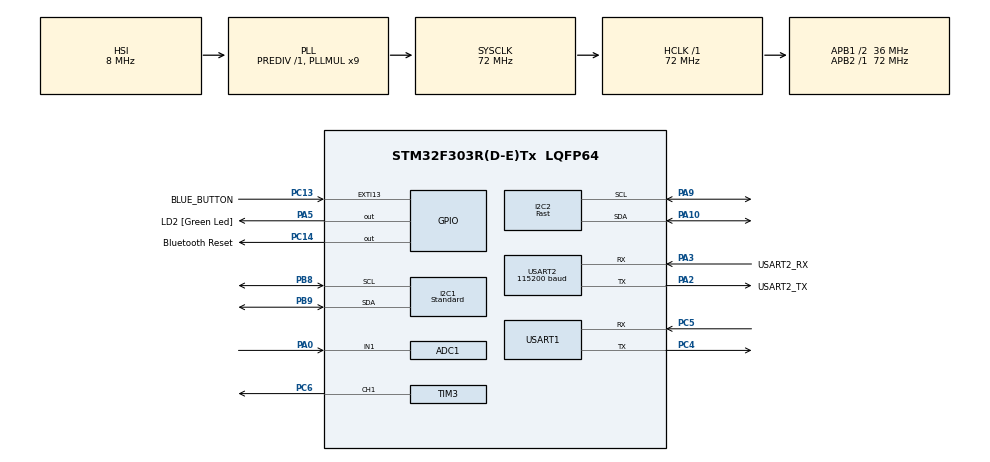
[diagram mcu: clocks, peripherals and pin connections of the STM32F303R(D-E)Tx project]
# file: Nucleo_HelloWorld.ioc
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ADC1.Channel-0\#ChannelRegularConversion=ADC_CHANNEL_1
ADC1.ContinuousConvMode=ENABLE
ADC1.NbrOfConversionFlag=1
ADC1.Offset-0\#ChannelRegularConversion=0
ADC1.OffsetNumber-0\#ChannelRegularConversion=ADC_OFFSET_NONE
ADC1.Rank-0\#ChannelRegularConversion=1
ADC1.SamplingTime-0\#ChannelRegularConversion=ADC_SAMPLETIME_1CYCLE_5
ADC1.SamplingTimeOPAMP-0\#ChannelRegularConversion=ADC_SAMPLETIME_61CYCLES_5
ADC1.master=1
I2C1.I2C_Fall_Time=0
I2C1.I2C_Rise_Time=0
I2C1.I2C_Speed_Mode=I2C_Standard
I2C1.Timing=0x2000090E
I2C2.I2C_Speed_Mode=I2C_Fast
I2C2.Timing=0x0010020A
Mcu.Family=STM32F3
Mcu.Name=STM32F303R(D-E)Tx
Mcu.Package=LQFP64
NVIC.EXTI15_10_IRQn=true\:0\:0\:false\:false\:false\:true\:true\:true
NVIC.PriorityGroup=NVIC_PRIORITYGROUP_0
NVIC.TIM3_IRQn=true\:0\:0\:false\:false\:true\:true\:true\:true
NVIC.USART1_IRQn=true\:0\:0\:false\:false\:false\:true\:true\:true
NVIC.USART2_IRQn=true\:0\:0\:false\:false\:false\:true\:true\:true
PA0.Mode=IN1-Single-Ended
PA0.Signal=ADC1_IN1
PA10.Mode=I2C
PA10.Signal=I2C2_SDA
PA2.GPIO_Label=USART2_TX
PA2.GPIO_Mode=GPIO_MODE_AF_PP
PA2.GPIO_PuPd=GPIO_NOPULL
PA2.GPIO_Speed=GPIO_SPEED_FREQ_LOW
PA2.Mode=Asynchronous
PA2.Signal=USART2_TX
PA3.GPIO_Label=USART2_RX
PA3.GPIO_Mode=GPIO_MODE_AF_PP
PA3.GPIO_PuPd=GPIO_NOPULL
PA3.GPIO_Speed=GPIO_SPEED_FREQ_LOW
PA3.Mode=Asynchronous
PA3.Signal=USART2_RX
PA5.GPIO_Label=LD2 [Green Led]
PA5.GPIO_Mode=GPIO_MODE_OUTPUT_PP
PA5.GPIO_PuPd=GPIO_NOPULL
PA5.GPIO_Speed=GPIO_SPEED_FREQ_LOW
PA5.Signal=GPIO_Output
PA9.Mode=I2C
PA9.Signal=I2C2_SCL
PB8.GPIO_Pu=GPIO_PULLUP
PB8.Mode=I2C
PB8.Signal=I2C1_SCL
PB9.GPIO_Pu=GPIO_PULLUP
PB9.Mode=I2C
PB9.Signal=I2C1_SDA
PC13.GPIO_Label=BLUE_BUTTON
PC13.GPIO_ModeDefaultEXTI=GPIO_MODE_IT_FALLING
PC13.Signal=GPXTI13
PC14-OSC32_IN.GPIO_Label=Bluetooth Reset
PC14-OSC32_IN.Signal=GPIO_Output
PC4.Mode=Asynchronous
PC4.Signal=USART1_TX
PC5.Mode=Asynchronous
PC5.Signal=USART1_RX
PC6.Signal=S_TIM3_CH1
PF1-OSC_OUT.Signal=RCC_OSC_OUT
ProjectManager.HeapSize=0x200
ProjectManager.StackSize=0x400
ProjectManager.TargetToolchain=STM32CubeIDE
RCC.AHBFreq_Value=72000000
RCC.APB1CLKDivider=RCC_HCLK_DIV2
RCC.APB1Freq_Value=36000000
RCC.APB1TimFreq_Value=72000000
RCC.APB2Freq_Value=72000000
RCC.APB2TimFreq_Value=72000000
RCC.CortexFreq_Value=72000000
RCC.HCLKFreq_Value=72000000
RCC.HSE_VALUE=8000000
RCC.HSI_VALUE=8000000
RCC.LSE_VALUE=32768
RCC.PLLM=8
RCC.PLLMUL=RCC_PLL_MUL9
RCC.PLLN=336
RCC.PLLP=RCC_PLLP_DIV4
RCC.PLLQ=7
RCC.RCC_PLLsource_Clock_Source_FROM_HSE=RCC_HSE_PREDIV_DIV2
RCC.SYSCLKFreq_VALUE=72000000
RCC.SYSCLKSourceVirtual=RCC_SYSCLKSOURCE_PLLCLK
RCC.USBFreq_Value=72000000
SH.S_TIM3_CH1.0=TIM3_CH1,Output Compare1 CH1
TIM3.Channel-Output\ Compare1\ CH1=TIM_CHANNEL_1
TIM3.Period=64000
TIM3.Prescaler=2000
USART1.VirtualMode-Asynchronous=VM_ASYNC
USART2.BaudRate=115200
USART2.VirtualMode-Asynchronous=VM_ASYNC
VP_TIM3_VS_ClockSourceINT.Mode=Internal
board=NUCLEO-F303RE

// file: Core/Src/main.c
/* USER CODE BEGIN Header */
/**
  ******************************************************************************
  * @file           : main.c
  * @brief          : Main program body
  ******************************************************************************
  * @attention
  *
  * Copyright (c) 2024 STMicroelectronics.
  * All rights reserved.
  *
  * This software is licensed under terms that can be found in the LICENSE file
  * in the root directory of this software component.
  * If no LICENSE file comes with this software, it is provided AS-IS.
  *
  ******************************************************************************
  */
/* USER CODE END Header */
#include "main.h"

/* USER CODE BEGIN Includes */

#include "periph_i2c.h"
#include "periph_uart.h"
#include "mpu6050.h"
#include "ssd1306_tests.h"
#include "ssd1306.h"
#include "ssd1306_fonts.h"
#include "ccs811.h"
#include "bme280.h"
#include "HC05.h"

#include <stdio.h>
#include <stdbool.h>
#include <string.h>
/* USER CODE END Includes */

/* USER CODE BEGIN PD */
#define BUFFER_LEN 100u

/* USER CODE END PD */

ADC_HandleTypeDef hadc1;

I2C_HandleTypeDef hi2c1;
I2C_HandleTypeDef hi2c2;

TIM_HandleTypeDef htim3;

UART_HandleTypeDef huart1;
UART_HandleTypeDef huart2;

/* USER CODE BEGIN PV */
// string constants
const char *hw = "Hello World \r\n";
const char *btn_message = "Button pressed! \r\n";
const char *error = "Error!\r\n";

// variable value holders for function calls
HAL_StatusTypeDef uart_tx_result = HAL_BUSY;
HAL_StatusTypeDef adc_ok = HAL_BUSY;
uint32_t adc_value = 0u;

// voltage reading values for ADC
float voltage = 0.0f;
const uint16_t adc_max_range = 4095;
const float ref_voltage = 3.3f;
const float volt_per_bit = ref_voltage / (float)adc_max_range;

char buffer[100] = "";
//uint8_t hc05_rx_data;
static bool it_flag = false;
static bool timer_flag = false;

/* USER CODE END PV */

void SystemClock_Config(void);
static void MX_GPIO_Init(void);
static void MX_USART2_UART_Init(void);
static void MX_ADC1_Init(void);
static void MX_I2C1_Init(void);
static void MX_TIM3_Init(void);
static void MX_I2C2_Init(void);
static void MX_USART1_UART_Init(void);
/* USER CODE BEGIN PFP */
void pollADC(void);
void check_button_press(void);
void print_mpu6050_axis_data(void);
void print_temperature_data(void);
void print_air_quality_data(void);
bool periph_i2c_init(void);

/* USER CODE END PFP */

int main(void)
{

  /* MCU Configuration--------------------------------------------------------*/

  /* Reset of all peripherals, Initializes the Flash interface and the Systick. */
  HAL_Init();

  /* Configure the system clock */
  SystemClock_Config();

  /* Initialize all configured peripherals */
  MX_GPIO_Init();
  MX_USART2_UART_Init();
  MX_ADC1_Init();
  MX_I2C1_Init();
  MX_TIM3_Init();
  MX_I2C2_Init();
  MX_USART1_UART_Init();
  /* USER CODE BEGIN 2 */

  // ADC has to call start first
  (void)HAL_ADC_Start(&hadc1);  // We must start the ADC if we want to use it

  // start the timer interrupt.
  HAL_TIM_Base_Start_IT(&htim3);

  // stop the debugger if we can't init either uart or i2c
  if (periph_uart_init(&huart2) == false)
  {
	  assert(false);
  }

  // init the HC05 Bluetooth module over UART
  if (hc05_init(&huart1) == false)
  {
	  assert(false);
  }
  else
  {
//	  char hc05_init_msg[] = "HCO5 initialized!\r\n";
//	  uint16_t buffer_len = strlen(hc05_init_msg);
//	  periph_uart_send_tx(hc05_init_msg, buffer_len);
  }

//  // temporary setup for HC05 for basic testsing over UART
//  (void)HAL_UART_Receive_IT(&huart1, &hc05_rx_data, 1);

  // init the i2c devices.
  if (periph_i2c_init() == false)
  {
	  assert(false);
  }
  else
  {
	  // i2c init succeeded, draw the Github logo on the OLED as the intro
	  draw_github_intro();
	  HAL_Delay(1000);
  }

  HAL_Delay(10); // delay needed to get UART working properly

  if (mpu6050_init() == false)
  {
	  assert(false);
  }
  else
  {
	  // send over the serial port that mpu6050 was found
	  char mpu6050_msg[] = "mpu6050 Found!\r\n";
	  uint16_t buffer_len = strlen(mpu6050_msg);
	  periph_uart_send_tx(mpu6050_msg, buffer_len);
  }

  /* USER CODE END 2 */

  /* Infinite loop */
  while (1)
  {

    /* USER CODE BEGIN 3 */
	  // Nothing happens in the while loop, interrupts are used
	  // for UART and Timer3.
  }
  /* USER CODE END 3 */
}

void SystemClock_Config(void)
{
  RCC_OscInitTypeDef RCC_OscInitStruct = {0};
  RCC_ClkInitTypeDef RCC_ClkInitStruct = {0};
  RCC_PeriphCLKInitTypeDef PeriphClkInit = {0};

  /** Initializes the RCC Oscillators according to the specified parameters
  * in the RCC_OscInitTypeDef structure.
  */
  RCC_OscInitStruct.OscillatorType = RCC_OSCILLATORTYPE_HSI;
  RCC_OscInitStruct.HSIState = RCC_HSI_ON;
  RCC_OscInitStruct.HSICalibrationValue = RCC_HSICALIBRATION_DEFAULT;
  RCC_OscInitStruct.PLL.PLLState = RCC_PLL_ON;
  RCC_OscInitStruct.PLL.PLLSource = RCC_PLLSOURCE_HSI;
  RCC_OscInitStruct.PLL.PLLMUL = RCC_PLL_MUL9;
  RCC_OscInitStruct.PLL.PREDIV = RCC_PREDIV_DIV1;
  if (HAL_RCC_OscConfig(&RCC_OscInitStruct) != HAL_OK)
  {
    Error_Handler();
  }

  /** Initializes the CPU, AHB and APB buses clocks
  */
  RCC_ClkInitStruct.ClockType = RCC_CLOCKTYPE_HCLK|RCC_CLOCKTYPE_SYSCLK
                              |RCC_CLOCKTYPE_PCLK1|RCC_CLOCKTYPE_PCLK2;
  RCC_ClkInitStruct.SYSCLKSource = RCC_SYSCLKSOURCE_PLLCLK;
  RCC_ClkInitStruct.AHBCLKDivider = RCC_SYSCLK_DIV1;
  RCC_ClkInitStruct.APB1CLKDivider = RCC_HCLK_DIV2;
  RCC_ClkInitStruct.APB2CLKDivider = RCC_HCLK_DIV1;

  if (HAL_RCC_ClockConfig(&RCC_ClkInitStruct, FLASH_LATENCY_2) != HAL_OK)
  {
    Error_Handler();
  }
  PeriphClkInit.PeriphClockSelection = RCC_PERIPHCLK_USART1|RCC_PERIPHCLK_USART2
                              |RCC_PERIPHCLK_I2C1|RCC_PERIPHCLK_I2C2
                              |RCC_PERIPHCLK_ADC12|RCC_PERIPHCLK_TIM34;
  PeriphClkInit.Usart1ClockSelection = RCC_USART1CLKSOURCE_PCLK2;
  PeriphClkInit.Usart2ClockSelection = RCC_USART2CLKSOURCE_PCLK1;
  PeriphClkInit.Adc12ClockSelection = RCC_ADC12PLLCLK_DIV1;
  PeriphClkInit.I2c1ClockSelection = RCC_I2C1CLKSOURCE_HSI;
  PeriphClkInit.I2c2ClockSelection = RCC_I2C2CLKSOURCE_HSI;
  PeriphClkInit.Tim34ClockSelection = RCC_TIM34CLK_HCLK;
  if (HAL_RCCEx_PeriphCLKConfig(&PeriphClkInit) != HAL_OK)
  {
    Error_Handler();
  }
}

static void MX_ADC1_Init(void)
{

  ADC_MultiModeTypeDef multimode = {0};
  ADC_ChannelConfTypeDef sConfig = {0};

  /** Common config
  */
  hadc1.Instance = ADC1;
  hadc1.Init.ClockPrescaler = ADC_CLOCK_ASYNC_DIV1;
  hadc1.Init.Resolution = ADC_RESOLUTION_12B;
  hadc1.Init.ScanConvMode = ADC_SCAN_DISABLE;
  hadc1.Init.ContinuousConvMode = ENABLE;
  hadc1.Init.DiscontinuousConvMode = DISABLE;
  hadc1.Init.ExternalTrigConvEdge = ADC_EXTERNALTRIGCONVEDGE_NONE;
  hadc1.Init.ExternalTrigConv = ADC_SOFTWARE_START;
  hadc1.Init.DataAlign = ADC_DATAALIGN_RIGHT;
  hadc1.Init.NbrOfConversion = 1;
  hadc1.Init.DMAContinuousRequests = DISABLE;
  hadc1.Init.EOCSelection = ADC_EOC_SINGLE_CONV;
  hadc1.Init.LowPowerAutoWait = DISABLE;
  hadc1.Init.Overrun = ADC_OVR_DATA_OVERWRITTEN;
  if (HAL_ADC_Init(&hadc1) != HAL_OK)
  {
    Error_Handler();
  }

  /** Configure the ADC multi-mode
  */
  multimode.Mode = ADC_MODE_INDEPENDENT;
  if (HAL_ADCEx_MultiModeConfigChannel(&hadc1, &multimode) != HAL_OK)
  {
    Error_Handler();
  }

  /** Configure Regular Channel
  */
  sConfig.Channel = ADC_CHANNEL_1;
  sConfig.Rank = ADC_REGULAR_RANK_1;
  sConfig.SingleDiff = ADC_SINGLE_ENDED;
  sConfig.SamplingTime = ADC_SAMPLETIME_1CYCLE_5;
  sConfig.OffsetNumber = ADC_OFFSET_NONE;
  sConfig.Offset = 0;
  if (HAL_ADC_ConfigChannel(&hadc1, &sConfig) != HAL_OK)
  {
    Error_Handler();
  }

}

static void MX_I2C1_Init(void)
{

  hi2c1.Instance = I2C1;
  hi2c1.Init.Timing = 0x2000090E;
  hi2c1.Init.OwnAddress1 = 0;
  hi2c1.Init.AddressingMode = I2C_ADDRESSINGMODE_7BIT;
  hi2c1.Init.DualAddressMode = I2C_DUALADDRESS_DISABLE;
  hi2c1.Init.OwnAddress2 = 0;
  hi2c1.Init.OwnAddress2Masks = I2C_OA2_NOMASK;
  hi2c1.Init.GeneralCallMode = I2C_GENERALCALL_DISABLE;
  hi2c1.Init.NoStretchMode = I2C_NOSTRETCH_DISABLE;
  if (HAL_I2C_Init(&hi2c1) != HAL_OK)
  {
    Error_Handler();
  }

  /** Configure Analogue filter
  */
  if (HAL_I2CEx_ConfigAnalogFilter(&hi2c1, I2C_ANALOGFILTER_ENABLE) != HAL_OK)
  {
    Error_Handler();
  }

  /** Configure Digital filter
  */
  if (HAL_I2CEx_ConfigDigitalFilter(&hi2c1, 0) != HAL_OK)
  {
    Error_Handler();
  }

}

static void MX_I2C2_Init(void)
{

  hi2c2.Instance = I2C2;
  hi2c2.Init.Timing = 0x0010020A;
  hi2c2.Init.OwnAddress1 = 0;
  hi2c2.Init.AddressingMode = I2C_ADDRESSINGMODE_7BIT;
  hi2c2.Init.DualAddressMode = I2C_DUALADDRESS_DISABLE;
  hi2c2.Init.OwnAddress2 = 0;
  hi2c2.Init.OwnAddress2Masks = I2C_OA2_NOMASK;
  hi2c2.Init.GeneralCallMode = I2C_GENERALCALL_DISABLE;
  hi2c2.Init.NoStretchMode = I2C_NOSTRETCH_DISABLE;
  if (HAL_I2C_Init(&hi2c2) != HAL_OK)
  {
    Error_Handler();
  }

  /** Configure Analogue filter
  */
  if (HAL_I2CEx_ConfigAnalogFilter(&hi2c2, I2C_ANALOGFILTER_ENABLE) != HAL_OK)
  {
    Error_Handler();
  }

  /** Configure Digital filter
  */
  if (HAL_I2CEx_ConfigDigitalFilter(&hi2c2, 0) != HAL_OK)
  {
    Error_Handler();
  }

}

static void MX_TIM3_Init(void)
{

  TIM_ClockConfigTypeDef sClockSourceConfig = {0};
  TIM_MasterConfigTypeDef sMasterConfig = {0};
  TIM_OC_InitTypeDef sConfigOC = {0};

  htim3.Instance = TIM3;
  htim3.Init.Prescaler = 2000;
  htim3.Init.CounterMode = TIM_COUNTERMODE_UP;
  htim3.Init.Period = 64000;
  htim3.Init.ClockDivision = TIM_CLOCKDIVISION_DIV1;
  htim3.Init.AutoReloadPreload = TIM_AUTORELOAD_PRELOAD_DISABLE;
  if (HAL_TIM_Base_Init(&htim3) != HAL_OK)
  {
    Error_Handler();
  }
  sClockSourceConfig.ClockSource = TIM_CLOCKSOURCE_INTERNAL;
  if (HAL_TIM_ConfigClockSource(&htim3, &sClockSourceConfig) != HAL_OK)
  {
    Error_Handler();
  }
  if (HAL_TIM_OC_Init(&htim3) != HAL_OK)
  {
    Error_Handler();
  }
  sMasterConfig.MasterOutputTrigger = TIM_TRGO_RESET;
  sMasterConfig.MasterSlaveMode = TIM_MASTERSLAVEMODE_DISABLE;
  if (HAL_TIMEx_MasterConfigSynchronization(&htim3, &sMasterConfig) != HAL_OK)
  {
    Error_Handler();
  }
  sConfigOC.OCMode = TIM_OCMODE_TIMING;
  sConfigOC.Pulse = 0;
  sConfigOC.OCPolarity = TIM_OCPOLARITY_HIGH;
  sConfigOC.OCFastMode = TIM_OCFAST_DISABLE;
  if (HAL_TIM_OC_ConfigChannel(&htim3, &sConfigOC, TIM_CHANNEL_1) != HAL_OK)
  {
    Error_Handler();
  }
  HAL_TIM_MspPostInit(&htim3);

}

static void MX_USART1_UART_Init(void)
{

  huart1.Instance = USART1;
  huart1.Init.BaudRate = 38400;
  huart1.Init.WordLength = UART_WORDLENGTH_8B;
  huart1.Init.StopBits = UART_STOPBITS_1;
  huart1.Init.Parity = UART_PARITY_NONE;
  huart1.Init.Mode = UART_MODE_TX_RX;
  huart1.Init.HwFlowCtl = UART_HWCONTROL_NONE;
  huart1.Init.OverSampling = UART_OVERSAMPLING_16;
  huart1.Init.OneBitSampling = UART_ONE_BIT_SAMPLE_DISABLE;
  huart1.AdvancedInit.AdvFeatureInit = UART_ADVFEATURE_NO_INIT;
  if (HAL_UART_Init(&huart1) != HAL_OK)
  {
    Error_Handler();
  }

}

static void MX_USART2_UART_Init(void)
{

  huart2.Instance = USART2;
  huart2.Init.BaudRate = 115200;
  huart2.Init.WordLength = UART_WORDLENGTH_8B;
  huart2.Init.StopBits = UART_STOPBITS_1;
  huart2.Init.Parity = UART_PARITY_NONE;
  huart2.Init.Mode = UART_MODE_TX_RX;
  huart2.Init.HwFlowCtl = UART_HWCONTROL_NONE;
  huart2.Init.OverSampling = UART_OVERSAMPLING_16;
  huart2.Init.OneBitSampling = UART_ONE_BIT_SAMPLE_DISABLE;
  huart2.AdvancedInit.AdvFeatureInit = UART_ADVFEATURE_NO_INIT;
  if (HAL_UART_Init(&huart2) != HAL_OK)
  {
    Error_Handler();
  }

}

static void MX_GPIO_Init(void)
{
  GPIO_InitTypeDef GPIO_InitStruct = {0};

  /* GPIO Ports Clock Enable */
  __HAL_RCC_GPIOC_CLK_ENABLE();
  __HAL_RCC_GPIOF_CLK_ENABLE();
  __HAL_RCC_GPIOA_CLK_ENABLE();
  __HAL_RCC_GPIOB_CLK_ENABLE();

  /*Configure GPIO pin Output Level */
  HAL_GPIO_WritePin(Bluetooth_Reset_GPIO_Port, Bluetooth_Reset_Pin, GPIO_PIN_RESET);

  /*Configure GPIO pin Output Level */
  HAL_GPIO_WritePin(LD2_GPIO_Port, LD2_Pin, GPIO_PIN_RESET);

  /*Configure GPIO pin : BLUE_BUTTON_Pin */
  GPIO_InitStruct.Pin = BLUE_BUTTON_Pin;
  GPIO_InitStruct.Mode = GPIO_MODE_IT_FALLING;
  GPIO_InitStruct.Pull = GPIO_NOPULL;
  HAL_GPIO_Init(BLUE_BUTTON_GPIO_Port, &GPIO_InitStruct);

  /*Configure GPIO pin : Bluetooth_Reset_Pin */
  GPIO_InitStruct.Pin = Bluetooth_Reset_Pin;
  GPIO_InitStruct.Mode = GPIO_MODE_OUTPUT_PP;
  GPIO_InitStruct.Pull = GPIO_NOPULL;
  GPIO_InitStruct.Speed = GPIO_SPEED_FREQ_LOW;
  HAL_GPIO_Init(Bluetooth_Reset_GPIO_Port, &GPIO_InitStruct);

  /*Configure GPIO pin : LD2_Pin */
  GPIO_InitStruct.Pin = LD2_Pin;
  GPIO_InitStruct.Mode = GPIO_MODE_OUTPUT_PP;
  GPIO_InitStruct.Pull = GPIO_NOPULL;
  GPIO_InitStruct.Speed = GPIO_SPEED_FREQ_LOW;
  HAL_GPIO_Init(LD2_GPIO_Port, &GPIO_InitStruct);

  /* EXTI interrupt init*/
  HAL_NVIC_SetPriority(EXTI15_10_IRQn, 0, 0);
  HAL_NVIC_EnableIRQ(EXTI15_10_IRQn);

}

/* USER CODE BEGIN 4 */

bool periph_i2c_init()
{

	// init the OLED display driver.
	ssd1306_Init();

	// TODO: Will enable when Bluetooth is setup and broadcasting
	// init the air quality sensor
//	if (ccs811_init() == false)
//	{
//		return false;
//	}
	// init the temp+humidity sensor
//	if (bme280_init() == false)
//	{
//		return false;
//	}

	return true;
}

void pollADC(void)
{
	// usage of both UART and the ADC
	adc_ok = HAL_ADC_PollForConversion(&hadc1, 100);

	if (adc_ok == HAL_OK)
	{
		adc_value = HAL_ADC_GetValue(&hadc1);
		voltage = volt_per_bit * adc_value;
		snprintf(buffer, 100, "Voltage read from ADC was: %.6f\r\n", voltage);
		periph_uart_send_tx(buffer, 100);
		HAL_GPIO_WritePin(LD2_GPIO_Port, LD2_Pin, GPIO_PIN_RESET); // turn off LED if okay

		// output to the OLED display
		ssd1306_SetCursor(2, 20);
		char volts_msg[MAX_BUFFER_LEN] = "";
		snprintf(volts_msg, MAX_BUFFER_LEN, "ADC: %.1fV", voltage);
		ssd1306_WriteString(volts_msg, Font_11x18, White);
	}
	else
	{
		periph_uart_send_tx((char *)error, 9);
		HAL_GPIO_WritePin(LD2_GPIO_Port, LD2_Pin, GPIO_PIN_SET); // turn on LED to indicate an error
	}
}

void check_button_press(void)
{

}

/*!
  * \brief Reads x, y and z accelerometer axis from the mpu6050,
  *  formats the data into a string and prints the data over the uart.
  */
void print_mpu6050_axis_data(void)
{
	// get all 3 latest axis values
	float x_value = mpu6050_get_x_axis_data();
	float y_value = mpu6050_get_y_axis_data();
	float z_value = mpu6050_get_z_axis_data();

	char x_axis_msg[MAX_BUFFER_LEN] = "";
	char y_axis_msg[MAX_BUFFER_LEN] = "";
	char z_axis_msg[MAX_BUFFER_LEN] = "";

	snprintf(x_axis_msg, MAX_BUFFER_LEN, "x axis: %.1f  ", x_value);
	snprintf(y_axis_msg, MAX_BUFFER_LEN, "y axis: %.1f  ", y_value);
	snprintf(z_axis_msg, MAX_BUFFER_LEN, "z axis: %.1f\r\n", z_value);

	uint16_t x_axis_buffer_len = strlen(x_axis_msg);
	periph_uart_send_tx(x_axis_msg, x_axis_buffer_len);
	uint16_t y_axis_buffer_len = strlen(y_axis_msg);
	periph_uart_send_tx(y_axis_msg, y_axis_buffer_len);
	uint16_t z_axis_buffer_len = strlen(z_axis_msg);
	periph_uart_send_tx(z_axis_msg, z_axis_buffer_len);
}

void print_temperature_data(void)
{
	float temp_value = mpu6050_get_temperature_data();
	// comes in as C, convert to F
	// (C × 9/5) + 32
	float temp_value_F = (temp_value * 1.8) + 32.0;
	char temp_msg[MAX_BUFFER_LEN] = "";

	snprintf(temp_msg, MAX_BUFFER_LEN, "temperature is: %.1f\r\n", temp_value_F);

	// output over the uart to serial port
	uint16_t temp_buffer_len = strlen(temp_msg);
	periph_uart_send_tx(temp_msg, temp_buffer_len);

	// output to the OLED display
	ssd1306_Fill(Black);
	ssd1306_SetCursor(2, 0);
	char temp_F[MAX_BUFFER_LEN] = "";
	snprintf(temp_F, MAX_BUFFER_LEN, "Temp: %.1fF", temp_value_F);
	ssd1306_WriteString(temp_F, Font_11x18, White);
}

void print_air_quality_data()
{
//	TODO
}

void EXTI15_10_IRQHandler(void)
{
  /* USER CODE BEGIN EXTI15_10_IRQn 0 */

  /* USER CODE END EXTI15_10_IRQn 0 */
  HAL_GPIO_EXTI_IRQHandler(BLUE_BUTTON_Pin);
  /* USER CODE BEGIN EXTI15_10_IRQn 1 */
  // blue button was pressed update the flag.
  periph_uart_send_tx((char *)btn_message, 19);
  char buffer[2] = "AT";
  (void)hc05_uart_send_tx(buffer, sizeof(buffer));
  /* USER CODE END EXTI15_10_IRQn 1 */
}

// UART Transmit callback function called from stm32f3xx_hal_uart.c
void HAL_UART_TxCpltCallback(UART_HandleTypeDef *huart)
{
	if (huart == &huart2)
	{
		periph_uart_handle_tx(huart);
	}

	if (huart == &huart1)
	{
		hc05_uart_handle_tx(huart);
	}
}

// UART Receive callback function called from stm32f3xx_hal_uart.c
void HAL_UART_RxCpltCallback(UART_HandleTypeDef *huart)
{
	// if UART was the serial in/output instance
	if (huart == &huart2)
	{
		periph_uart_handle_rx(huart);
	}

	// if UART was the hc05 instance
	if (huart == &huart1)
	{
		hc05_uart_handle_rx(huart);
//		if (hc05_rx_data == 1)
//		{
//			HAL_GPIO_WritePin(LD2_GPIO_Port, LD2_Pin, GPIO_PIN_SET); // turn on LED
//		}
//		else if (hc05_rx_data == 0)
//		{
//			HAL_GPIO_WritePin(LD2_GPIO_Port, LD2_Pin, GPIO_PIN_RESET); // turn off LED
//		}
	}
}

void HAL_TIM_PeriodElapsedCallback(TIM_HandleTypeDef *htim)
{
	// our (close to 1 second) timer elapsed, do updates in here.
	//timer_flag = true;

	//print_temperature_data();
	//pollADC();
	//print_air_quality_data();
	ssd1306_UpdateScreen();
}

/**
  * @brief This function handles USART2 global interrupt / USART2 wake-up interrupt through EXTI line 26.
  */
void USART2_IRQHandler(void)
{
  /* USER CODE BEGIN USART2_IRQn 0 */

  /* USER CODE END USART2_IRQn 0 */
  HAL_UART_IRQHandler(&huart2);
  /* USER CODE BEGIN USART2_IRQn 1 */

  /* USER CODE END USART2_IRQn 1 */
}

/**
  * @brief This function handles USART1 global interrupt / USART1 wake-up interrupt through EXTI line 25.
  */
void USART1_IRQHandler(void)
{
  /* USER CODE BEGIN USART1_IRQn 0 */

  /* USER CODE END USART1_IRQn 0 */
  HAL_UART_IRQHandler(&huart1);
  /* USER CODE BEGIN USART1_IRQn 1 */

  /* USER CODE END USART1_IRQn 1 */
}

/* USER CODE END 4 */

void Error_Handler(void)
{
  __disable_irq();
  while (1)
  {
  }
}
